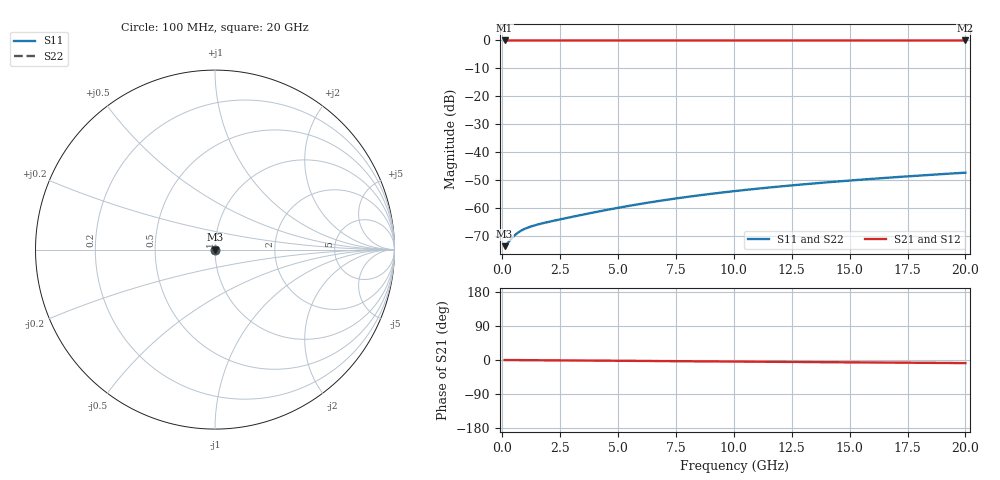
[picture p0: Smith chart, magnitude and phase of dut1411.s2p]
! Touchstone file exported from HFSS 2026.1.0
!  File:  C:/ffzhzh/LocalFiles/Ansys_Project_Files/temp_train_TSV_1411_1783197043_43440.aedt
!  Generated:  04:32:20 AM Jul  5, 2026
!  Design:  TSV
!  Project:  temp_train_TSV_1411_1783197043_43440
! Variables:
!  h_bsmrdl = 2um
!  h_ox = 20um
!  h_rdl = 5um
!  h_sub = 85.54um
!  h_tmrdl = 5um
!  h_tsv = 85.54um
!  h_via = 3um
!  l_bsmrdl = 300um
!  l_sub = 415.5um
!  l_tmrdl = 200um
!  m_sub = 200um
!  pitch = 30.76um
!  r_tsv = 7.75um
!  s_tmrdl = 10um
!  w_bsmrdl = 18um
!  w_sub = 500um
!  w_tmrdl = 12um
!  x_tsv_center1 = 206um
!  x_tsv_center2 = 524um
!  x_tsv_center3 = 736um
!  x_tsv_center4 = 1054um
!  x_tsv_center5 = 1266um
!  x_tsv_center6 = 1584um
# GHz S MA R 50.000000
! Terminal data exported
! Port[1] = TSV1_1_T1
! Port[2] = TSV1_1_T2
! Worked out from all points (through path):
!   200 points, 100 MHz to 20 GHz, reference 50 ohm
!   highest |S21| = 0.00 dB at 100 MHz (marker M1); lowest = 0.0 dB at 20 GHz (marker M2)
!   group delay of S21, straight-line fit = 1.13 ps
!   lowest |S11| = -73.7 dB at 100 MHz (marker M3), VSWR 1.00, Z = 50 + j0.00324 ohm
!   |S11| at or under -10 dB: start of sweep to end of sweep
!   |S22| runs from -73.7 to -47.3 dB; largest |S21 - S12| = 4.5e-15
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0.1  0.0002075 9.0  0.9998 -0.0  0.9998 -0.0  0.0002075 9.0
! Gamma 0 0 0 0
! Port Impedance 50 0 50 0
0.2  0.0002275 15.7  0.9998 -0.1  0.9998 -0.1  0.0002275 15.7
0.4  0.0002848 21.0  0.9997 -0.2  0.9997 -0.2  0.0002848 21.0
0.5  0.0003144 20.8  0.9997 -0.2  0.9997 -0.2  0.0003144 20.8
0.6  0.0003422 19.7  0.9997 -0.3  0.9997 -0.3  0.0003422 19.7
0.7  0.0003674 18.1  0.9997 -0.3  0.9997 -0.3  0.0003675 18.1
0.8  0.0003902 16.2  0.9996 -0.3  0.9996 -0.3  0.0003902 16.2
0.9  0.0004107 14.1  0.9996 -0.4  0.9996 -0.4  0.0004107 14.1
1.1  0.000446 10.0  0.9996 -0.5  0.9996 -0.5  0.000446 10.0
1.4  0.0004899 4.2  0.9995 -0.6  0.9995 -0.6  0.0004899 4.2
1.8  0.0005405 -2.5  0.9995 -0.8  0.9995 -0.8  0.0005406 -2.5
2.5  0.0006269 -12.0  0.9994 -1.0  0.9994 -1.0  0.000627 -12.0
3.5  0.0007649 -22.5  0.9993 -1.4  0.9993 -1.4  0.0007649 -22.5
5.2  0.001045 -35.5  0.9991 -2.1  0.9991 -2.1  0.001045 -35.5
6.8  0.001346 -44.4  0.999 -2.8  0.999 -2.8  0.001346 -44.4
8.4  0.001667 -51.3  0.9989 -3.4  0.9989 -3.4  0.001667 -51.3
10.1  0.002023 -56.9  0.9988 -4.1  0.9988 -4.1  0.002024 -56.9
11.7  0.002368 -61.1  0.9987 -4.8  0.9987 -4.8  0.002369 -61.1
13.4  0.002744 -64.8  0.9986 -5.5  0.9986 -5.5  0.002744 -64.8
15  0.003106 -67.7  0.9985 -6.1  0.9985 -6.1  0.003106 -67.7
16.7  0.0035 -70.3  0.9984 -6.8  0.9984 -6.8  0.0035 -70.3
20  0.004296 -74.4  0.9983 -8.2  0.9983 -8.2  0.004297 -74.4
